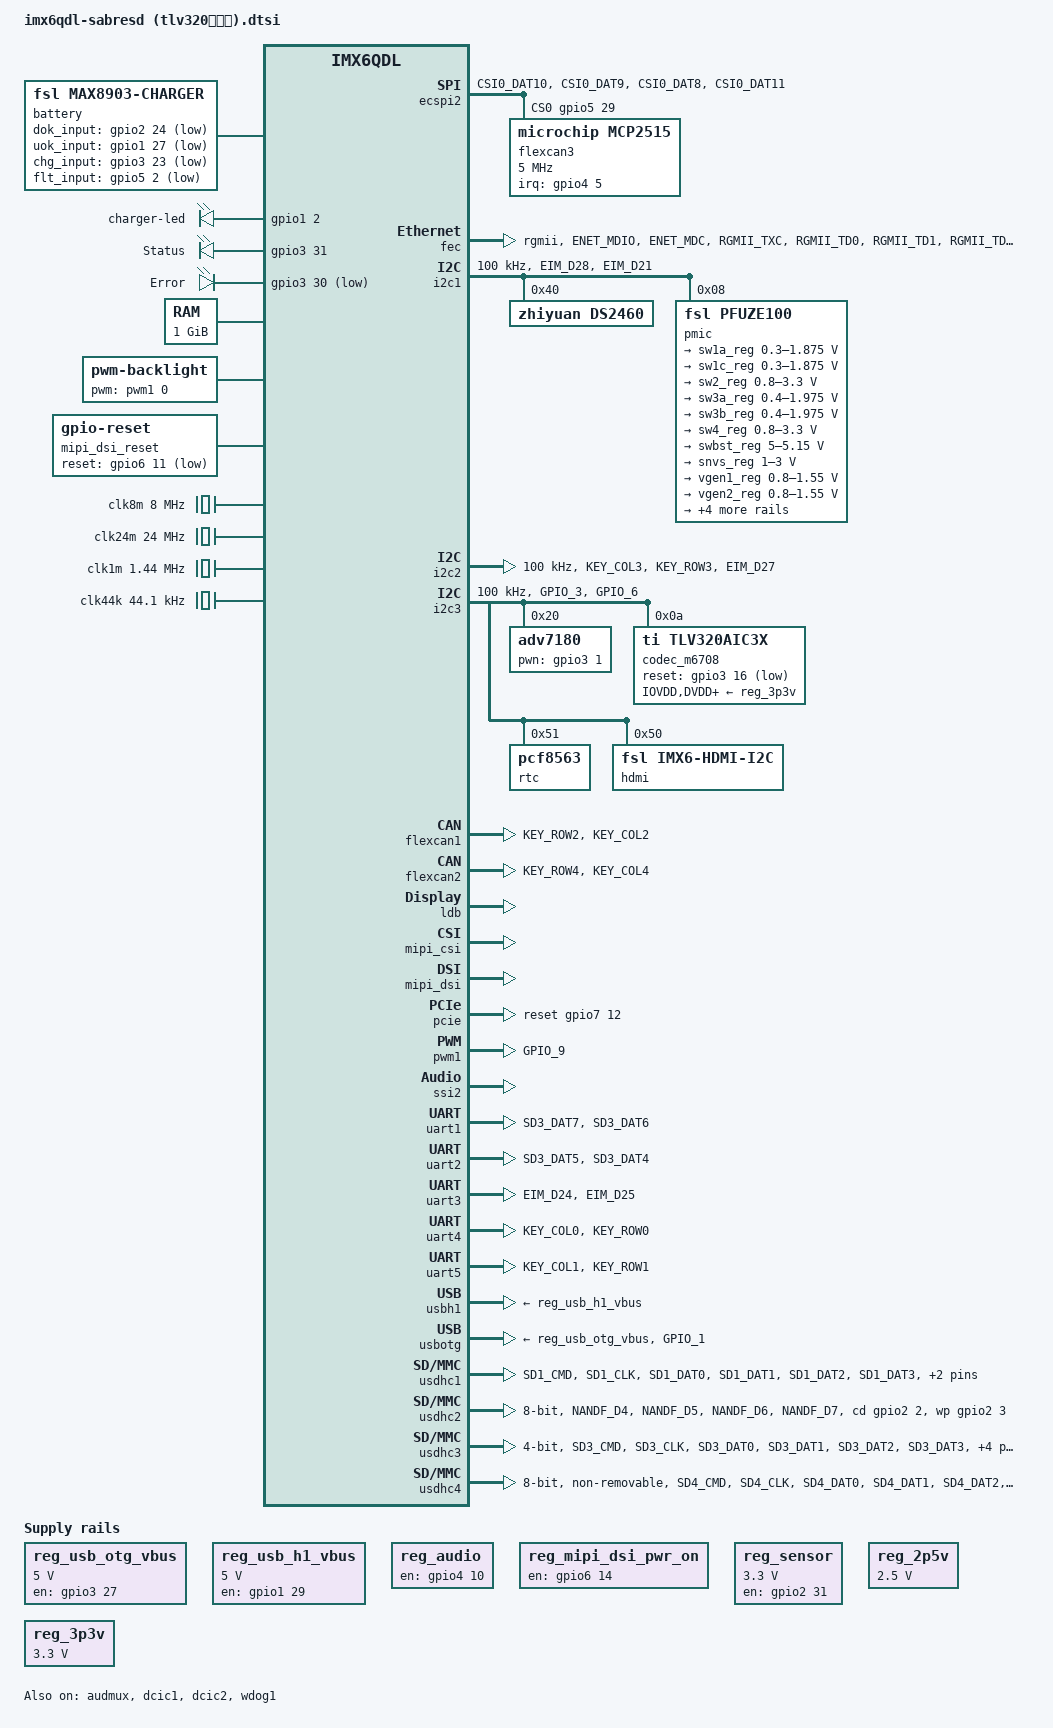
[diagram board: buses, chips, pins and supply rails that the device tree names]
/*
 * Copyright 2012 Freescale Semiconductor, Inc.
 * Copyright 2011 Linaro Ltd.
 *
 * The code contained herein is licensed under the GNU General Public
 * License. You may obtain a copy of the GNU General Public License
 * Version 2 or later at the following locations:
 *
 * http://www.opensource.org/licenses/gpl-license.html
 * http://www.gnu.org/copyleft/gpl.html
 */

#include <dt-bindings/input/input.h>

/ {
	aliases {
		mxcfb0 = &mxcfb1;
		mxcfb1 = &mxcfb2;
		mxcfb2 = &mxcfb3;
		mxcfb3 = &mxcfb4;
	};

	battery: max8903@0 {
		compatible = "fsl,max8903-charger";
		pinctrl-names = "default";
		dok_input = <&gpio2 24 1>;
		uok_input = <&gpio1 27 1>;
		chg_input = <&gpio3 23 1>;
		flt_input = <&gpio5 2 1>;
		fsl,dcm_always_high;
		fsl,dc_valid;
		fsl,usb_valid;
		status = "okay";
	};

	leds {
		compatible = "gpio-leds";

		charger-led {
			gpios = <&gpio1 2 0>;
			linux,default-trigger = "max8903-charger-charging";
			retain-state-suspended;
		};

		system-led {
			label = "Status";
			gpios = <&gpio3 31 0>;
			linux,default-trigger = "heartbeat";
		};

		error-led {
			label = "Error";
			gpios = <&gpio3 30 1>;
			linux,default-status = "default-on";
		};
	};

	memory {
		reg = <0x10000000 0x40000000>;
	};

	regulators {
		compatible = "simple-bus";
		#address-cells = <1>;
		#size-cells = <0>;

		reg_usb_otg_vbus: regulator@0 {
			compatible = "regulator-fixed";
			reg = <0>;
			regulator-name = "usb_otg_vbus";
			regulator-min-microvolt = <5000000>;
			regulator-max-microvolt = <5000000>;
			gpio = <&gpio3 27 0>;
			enable-active-high;
		};

		reg_usb_h1_vbus: regulator@1 {
			compatible = "regulator-fixed";
			reg = <1>;
			regulator-name = "usb_h1_vbus";
			regulator-min-microvolt = <5000000>;
			regulator-max-microvolt = <5000000>;
			gpio = <&gpio1 29 0>;
			enable-active-high;
		};

		reg_audio: regulator@2 {
			compatible = "regulator-fixed";
			reg = <2>;
			regulator-name = "wm8962-supply";
			gpio = <&gpio4 10 0>;
			enable-active-high;
		};

		reg_mipi_dsi_pwr_on: mipi_dsi_pwr_on {
			compatible = "regulator-fixed";
			regulator-name = "mipi_dsi_pwr_on";
			gpio = <&gpio6 14 0>;
			enable-active-high;
		};

		reg_sensor: regulator@3 {
			compatible = "regulator-fixed";
			reg = <3>;
			regulator-name = "sensor-supply";
			regulator-min-microvolt = <3300000>;
			regulator-max-microvolt = <3300000>;
			gpio = <&gpio2 31 0>;
			startup-delay-us = <500>;
			enable-active-high;
		};

		reg_2p5v: regulator@4 {
			  compatible = "regulator-fixed";
			  reg = <4>;
			  regulator-name = "2P5V";
			  regulator-min-microvolt = <2500000>;
			  regulator-max-microvolt = <2500000>;
			  regulator-always-on;
		};

		reg_3p3v: regulator@5 {
			  compatible = "regulator-fixed";
			  reg = <5>;
			  regulator-name = "3P3V";
			  regulator-min-microvolt = <3300000>;
			  regulator-max-microvolt = <3300000>;
			  regulator-always-on;
		};

	};

	sound {
		compatible = "fsl,imx-audio-tlv320aic3x";
		model = "tlv320aic3x-audio";
		cpu-dai = <&ssi2>;
		audio-codec = <&codec_m6708>;
		asrc-controller = <&asrc>;
		//pinctrl-names = "default";
		//pinctrl-0 = <&pinctrl_tlv>;
		audio-routing =
			"MICIN", "Mic Jack",
			"Mic Jack", "Mic Bias",
			"Headphone Jack", "HP_OUT",
			"Headphone Jack", "LHPOUT",
			"Headphone Jack", "RHPOUT",
			"Line In Jack",	"LINE1L",
			"Line In Jack",	"LINE1R";
			/*"Headphone Jack", "MONO_LOUT",
			"Headphone Jack", "MONO_ROUT", 
			"Headphone Jack", "HPLOUT", 
			"Headphone Jack", "HPROUT", 
			"Line In Jack", "LINE1L", 
			"Line In Jack", "LINE1R",
			"Ext Spk", "SPKOUTL", 
			"Ext Spk", "SPKOUTR", 
			"MICBIAS", "AMIC", 
			"IN3R", "MICBIAS", 
			"DMIC", "MICBIAS", 
			"DMICDAT", "DMIC", 
			"CPU-Playback", "ASRC-Playback", 
			"Playback", "CPU-Playback", 
			"ASRC-Capture", "CPU-Capture", 
			"CPU-Capture", "Capture";*/
		mux-int-port = <2>;
		mux-ext-port = <3>;
		//hp-det-gpios = <&gpio3 20 GPIO_ACTIVE_LOW>;
		//mic-det-gpios = <&gpio1 20 GPIO_ACTIVE_LOW>;
		status = "okay";
	};

	/*sound-hdmi {
		compatible = "fsl,imx6q-audio-hdmi",
			     "fsl,imx-audio-hdmi";
		model = "imx-audio-hdmi";
		hdmi-controller = <&hdmi_audio>;
	};*/

	mxcfb1: fb@0 {
		compatible = "fsl,mxc_sdc_fb";
		disp_dev = "ldb";
		interface_pix_fmt = "RGB24";
		mode_str ="1920x1080M@60";
		default_bpp = <16>;
		int_clk = <0>;
		late_init = <0>;
		status = "okay";
	};

	mxcfb2: fb@1 {
		compatible = "fsl,mxc_sdc_fb";
		disp_dev = "hdmi";
		interface_pix_fmt = "RGB24";
		mode_str ="1920x1080M@60";
		default_bpp = <24>;
		int_clk = <0>;
		late_init = <0>;
		status = "okay";
	};

	mxcfb3: fb@2 {
		compatible = "fsl,mxc_sdc_fb";
		disp_dev = "ldb";
		interface_pix_fmt = "RGB565";
		mode_str ="CLAA-WVGA";
		default_bpp = <16>;
		int_clk = <0>;
		late_init = <0>;
		status = "disabled";
	};

	mxcfb4: fb@3 {
		compatible = "fsl,mxc_sdc_fb";
		disp_dev = "ldb";
		interface_pix_fmt = "RGB666";
		default_bpp = <16>;
		int_clk = <0>;
		late_init = <0>;
		status = "disabled";
	};

	/*lcd@0 {
		compatible = "fsl,lcd";
		ipu_id = <0>;
		disp_id = <0>;
		default_ifmt = "RGB565";
		pinctrl-names = "default";
		pinctrl-0 = <&pinctrl_ipu1>;
		status = "disabled";
	};*/

	backlight {
		compatible = "pwm-backlight";
		pwms = <&pwm1 0 5000000>;
		brightness-levels = <0 4 8 16 32 64 128 255>;
		default-brightness-level = <7>;
		status = "okay";
	};

	/*
	buzzer {
		compatible = "pwm-beeper";
		pwms = <&pwm1 0 5000000 0>;
		status = "okay";
	};
	*/

	/*v4l2_cap_0 {
		compatible = "fsl,imx6q-v4l2-capture";
		ipu_id = <0>;
		csi_id = <0>;
		mclk_source = <0>;
		status = "okay";
	};

	v4l2_cap_1 {
		compatible = "fsl,imx6q-v4l2-capture";
		ipu_id = <0>;
		csi_id = <1>;
		mclk_source = <0>;
		status = "okay";
	};

	v4l2_out {
		compatible = "fsl,mxc_v4l2_output";
		status = "okay";
	};*/

	mipi_dsi_reset: mipi-dsi-reset {
		compatible = "gpio-reset";
		reset-gpios = <&gpio6 11 GPIO_ACTIVE_LOW>;
		reset-delay-us = <50>;
		#reset-cells = <0>;
	};
};

&audmux {
	pinctrl-names = "default";
	pinctrl-0 = <&pinctrl_audmux>;
	clocks = <&clk1m>,		
		<&clk44k>;
	clock-names =  "bclk","wclk";
	status = "okay";
};

&cpu0 {
	arm-supply = <&sw1a_reg>;
	soc-supply = <&sw1c_reg>;
};

&ecspi2 {
	fsl,spi-num-chipselects = <1>;
	cs-gpios = <&gpio5 29 0>;
	pinctrl-names = "default";
	pinctrl-0 = <&pinctrl_ecspi2>;
	interrupts = <0 32 IRQ_TYPE_EDGE_FALLING>;
	status = "okay";
	//dmas = <&sdma 43 1 0>,
	//       <&sdma 44 1 0>;
	//dma-names = "rx", "tx";
	flexcan3: can@0 {
		reg = <0>;      /* CS0 */
		compatible = "microchip,mcp2515";
		clocks = <&clk8m>;
		//interrupt-parent = <&gpio4>;
		//interrupts = <0 5 IRQ_TYPE_LEVEL_HIGH>;
		interrupts-extended = <&gpio4 5 4>;
		spi-max-frequency = <5000000>;
		status = "okay";
		//vdd-supply = <&reg_3p3v>;
		//xceiver-supply = <&reg_3p3v>;
	};
};
/{
	clocks {
       	/* Fixed crystal dedicated to mcp251x */
		clk8m: clk@1 {
			compatible = "fixed-clock";
			reg = <1>;
			#clock-cells = <0>;
			clock-frequency = <8000000>;
			clock-output-names = "clk8m";
		};
		clk24m: clk@2 {
			compatible = "fixed-clock";
			reg = <2>;
			#clock-cells = <0>;
			clock-frequency = <24000000>;
			clock-output-names = "clk24m";
		};
		clk1m: clk@3 {
			compatible = "fixed-clock";
			reg = <3>;
			#clock-cells = <0>;
			clock-frequency = <1440000>;
			clock-output-names = "clk1m";
		};
		clk44k: clk@4 {
			compatible = "fixed-clock";
			reg = <4>;
			#clock-cells = <0>;
			clock-frequency = <44100>;
			clock-output-names = "clk44k";
		};
		osc {
			compatible = "fsl,imx-osc", "fixed-clock", "mclk","bclk","wclk";
			status = "okay";
		};
	};
	soc{
		aips-bus@02000000 {
			clks: ccm@020c4000 {
				status = "okay";
			};
		};
	};
};
&fec {
	pinctrl-names = "default";
	pinctrl-0 = <&pinctrl_enet>;
	phy-mode = "rgmii";
	phy-reset-gpios = <&gpio1 25 0>;
	fsl,magic-packet;
	status = "okay";
};

&i2c1 {
	clock-frequency = <100000>;
	pinctrl-names = "default";
	pinctrl-0 = <&pinctrl_i2c1>;
	status = "okay";

	ds2460@40{
		compatible = "zhiyuan,ds2460";
		reg = <0x40>;
	};

	pmic: pfuze100@08 {
		compatible = "fsl,pfuze100";
		reg = <0x08>;

		regulators {
			sw1a_reg: sw1ab {
				regulator-min-microvolt = <300000>;
				regulator-max-microvolt = <1875000>;
				regulator-boot-on;
				regulator-always-on;
				regulator-ramp-delay = <6250>;
			};

			sw1c_reg: sw1c {
				regulator-min-microvolt = <300000>;
				regulator-max-microvolt = <1875000>;
				regulator-boot-on;
				regulator-always-on;
				regulator-ramp-delay = <6250>;
			};

			sw2_reg: sw2 {
				regulator-min-microvolt = <800000>;
				regulator-max-microvolt = <3300000>;
				regulator-boot-on;
				regulator-always-on;
			};

			sw3a_reg: sw3a {
				regulator-min-microvolt = <400000>;
				regulator-max-microvolt = <1975000>;
				regulator-boot-on;
				regulator-always-on;
			};

			sw3b_reg: sw3b {
				regulator-min-microvolt = <400000>;
				regulator-max-microvolt = <1975000>;
				regulator-boot-on;
				regulator-always-on;
			};

			sw4_reg: sw4 {
				regulator-min-microvolt = <800000>;
				regulator-max-microvolt = <3300000>;
			};

			swbst_reg: swbst {
				regulator-min-microvolt = <5000000>;
				regulator-max-microvolt = <5150000>;
			};

			snvs_reg: vsnvs {
				regulator-min-microvolt = <1000000>;
				regulator-max-microvolt = <3000000>;
				regulator-boot-on;
				regulator-always-on;
			};

			vref_reg: vrefddr {
				regulator-boot-on;
				regulator-always-on;
			};

			vgen1_reg: vgen1 {
				regulator-min-microvolt = <800000>;
				regulator-max-microvolt = <1550000>;
			};

			vgen2_reg: vgen2 {
				regulator-min-microvolt = <800000>;
				regulator-max-microvolt = <1550000>;
			};

			vgen3_reg: vgen3 {
				regulator-min-microvolt = <1800000>;
				regulator-max-microvolt = <3300000>;
			};

			vgen4_reg: vgen4 {
				regulator-min-microvolt = <1800000>;
				regulator-max-microvolt = <3300000>;
				regulator-always-on;
			};

			vgen5_reg: vgen5 {
				regulator-min-microvolt = <1800000>;
				regulator-max-microvolt = <3300000>;
				regulator-always-on;
			};

			vgen6_reg: vgen6 {
				regulator-min-microvolt = <1800000>;
				regulator-max-microvolt = <3300000>;
				regulator-always-on;
			};
		};
	};

};

&i2c2 {
	clock-frequency = <100000>;
	pinctrl-names = "default";
	pinctrl-0 = <&pinctrl_i2c2>;
	status = "okay";
};

&i2c3 {
	clock-frequency = <100000>;
	pinctrl-names = "default";
	pinctrl-0 = <&pinctrl_i2c3>;
	status = "okay";

	adv7180: adv7180@20 {
        compatible = "adv7180";
        reg = <0x20>;
        pinctrl-names = "default";
        pinctrl-0 = <&pinctrl_ipu1_2>;
        clocks = <&clks IMX6QDL_CLK_CKO>;
        clock-names = "csi_mclk";
        //DOVDD-supply = <&reg_3p3v>; /* 3.3v, enabled via 2.8 VGEN6 */
        //AVDD-supply = <&reg_3p3v>;  /* 1.8v */
        //DVDD-supply = <&reg_3p3v>;  /* 1.8v */
        //PVDD-supply = <&reg_3p3v>;  /* 1.8v */
        //pwn-gpios = <&max7310_b 2 0>;
        pwn-gpios = <&gpio3 1 0>;
        csi_id = <0>;
        mclk = <24000000>;
        mclk_source = <0>;
        cvbs = <1>;
	};

	codec_m6708: tlc320aic3x-codec@0a {
	   compatible = "ti,tlv320aic3x";
	   reg = <0x0a>;
	   clocks = <&clks IMX6QDL_CLK_CKO>;

	   //VDDA-supply = <&reg_2p5v>;
	   //VDDIO-supply = <&reg_3p3v>;
	   IOVDD-supply = <&reg_3p3v>;
	   DVDD-supply = <&reg_3p3v>;
	   AVDD-supply = <&reg_3p3v>;
	   DRVDD-supply = <&reg_3p3v>;
	   reset-gpios = <&gpio3 16 1>;
	   amic-mono;
	   gpio-cfg = < 
		0x0000 /* 0:Default */ 
		0x0000 /* 1:Default */ 
		0x0013 /* 2:FN_DMICCLK */ 
		0x0000 /* 3:Default */ 
		0x8014 /* 4:FN_DMICCDAT */ 
		0x0000 /* 5:Default */ 
		>;
	};

	rtc@51{
		compatible = "pcf8563";
		reg = <0x51>;
	};

	hdmi: edid@50 {
		compatible = "fsl,imx6-hdmi-i2c";
		reg = <0x50>;
	};

};

&iomuxc {
	pinctrl-names = "default";
	pinctrl-0 = <&pinctrl_hog>;

	imx6qdl-sabresd {
		pinctrl_hog: hoggrp {
			fsl,pins = <
				MX6QDL_PAD_NANDF_D0__GPIO2_IO00 0x80000000
				MX6QDL_PAD_NANDF_D1__GPIO2_IO01 0x80000000
				MX6QDL_PAD_NANDF_D2__GPIO2_IO02 0x80000000
				MX6QDL_PAD_NANDF_D3__GPIO2_IO03 0x80000000
				/* MX6QDL_PAD_GPIO_0__CCM_CLKO1    0x130b0 */
				MX6QDL_PAD_GPIO_0__CCM_CLKO1    0x130b0
				MX6QDL_PAD_NANDF_CLE__GPIO6_IO07 0x80000000
				MX6QDL_PAD_NANDF_ALE__GPIO6_IO08 0x80000000
				MX6QDL_PAD_ENET_TXD1__GPIO1_IO29 0x80000000
				MX6QDL_PAD_EIM_D22__GPIO3_IO22  0x80000000
				MX6QDL_PAD_ENET_CRS_DV__GPIO1_IO25 0x80000000
				MX6QDL_PAD_EIM_D26__GPIO3_IO26 0x80000000
				MX6QDL_PAD_EIM_CS1__GPIO2_IO24 0x80000000
				MX6QDL_PAD_ENET_RXD0__GPIO1_IO27 0x80000000
				MX6QDL_PAD_EIM_A25__GPIO5_IO02 0x80000000
				MX6QDL_PAD_EIM_D23__GPIO3_IO23 0x80000000
				MX6QDL_PAD_EIM_EB3__GPIO2_IO31 0x80000000
				/* MX6QDL_PAD_SD1_CMD__GPIO1_IO18 0x80000000 */
				//MX6QDL_PAD_EIM_D16__GPIO3_IO16 0x80000000
				MX6QDL_PAD_SD3_RST__GPIO7_IO08	0x80000000
				/* MX6QDL_PAD_GPIO_9__GPIO1_IO09 0x80000000 */
				MX6QDL_PAD_EIM_DA9__GPIO3_IO09 0x80000000
				/* MX6QDL_PAD_GPIO_1__WDOG2_B 0x80000000 */
				MX6QDL_PAD_NANDF_CS0__GPIO6_IO11 0x80000000
				MX6QDL_PAD_NANDF_CS1__GPIO6_IO14 0x80000000
				MX6QDL_PAD_EIM_D31__GPIO3_IO31 0x80000000
				MX6QDL_PAD_EIM_D30__GPIO3_IO30 0x80000000
				MX6QDL_PAD_EIM_D20__GPIO3_IO20 0x80000000
				/*MX6QDL_PAD_GPIO_0__GPIO1_IO00  0x80000000*/
				MX6QDL_PAD_EIM_D18__GPIO3_IO18	0x80000000
				MX6QDL_PAD_SD2_CLK__GPIO1_IO10	0x80000000
				MX6QDL_PAD_SD2_DAT2__GPIO1_IO13	0x80000000
				MX6QDL_PAD_SD2_CMD__GPIO1_IO11 0x80000000

				MX6QDL_PAD_EIM_A16__GPIO2_IO22 0x80000000
				MX6QDL_PAD_EIM_A17__GPIO2_IO21 0x80000000
				MX6QDL_PAD_EIM_A18__GPIO2_IO20 0x80000000
				MX6QDL_PAD_EIM_A19__GPIO2_IO19 0x80000000
				MX6QDL_PAD_EIM_A20__GPIO2_IO18 0x80000000
				MX6QDL_PAD_EIM_A21__GPIO2_IO17 0x80000000
				MX6QDL_PAD_EIM_A22__GPIO2_IO16 0x80000000
				MX6QDL_PAD_EIM_A23__GPIO6_IO06 0x80000000
				MX6QDL_PAD_EIM_A24__GPIO5_IO04 0x80000000
				MX6QDL_PAD_GPIO_5__GPIO1_IO05  0x80000000
				MX6QDL_PAD_NANDF_CS2__GPIO6_IO15  0x80000000
				MX6QDL_PAD_GPIO_19__GPIO4_IO05  0x80000000
				//MX6QDL_PAD_CSI0_MCLK__GPIO5_IO19 0x80000000
				//MX6QDL_PAD_EIM_D27__GPIO3_IO27  0x80000000

			>;
		};

		pinctrl_audmux: audmuxgrp {
			fsl,pins = <
				
				MX6QDL_PAD_CSI0_DAT7__AUD3_RXD		0x130b0
				MX6QDL_PAD_CSI0_DAT4__AUD3_TXC		0x130b0
				MX6QDL_PAD_CSI0_DAT5__AUD3_TXD		0x110b0
				MX6QDL_PAD_CSI0_DAT6__AUD3_TXFS		0x130b0
			>;
		};
		/*pinctrl_tlv: tlvgrp {
			fsl,pins = <
				MX6QDL_PAD_CSI0_MCLK__CCM_CLKO1		0x130b0
			>;
		};*/


		pinctrl_ecspi1: ecspi1grp {
			fsl,pins = <
			>;
		};

		pinctrl_ecspi2: ecspi2grp {
			fsl,pins = <
				MX6QDL_PAD_CSI0_DAT10__ECSPI2_MISO	0x100b1
				MX6QDL_PAD_CSI0_DAT9__ECSPI2_MOSI	0x100b1
				MX6QDL_PAD_CSI0_DAT8__ECSPI2_SCLK	0x100b1
				MX6QDL_PAD_CSI0_DAT11__GPIO5_IO29       0x80000000
			>;
		};

		pinctrl_enet: enetgrp {
			fsl,pins = <
				MX6QDL_PAD_ENET_MDIO__ENET_MDIO		0x1b0b0
				MX6QDL_PAD_ENET_MDC__ENET_MDC		0x1b0b0
				MX6QDL_PAD_RGMII_TXC__RGMII_TXC		0x1b0b0
				MX6QDL_PAD_RGMII_TD0__RGMII_TD0		0x1b0b0
				MX6QDL_PAD_RGMII_TD1__RGMII_TD1		0x1b0b0
				MX6QDL_PAD_RGMII_TD2__RGMII_TD2		0x1b0b0
				MX6QDL_PAD_RGMII_TD3__RGMII_TD3		0x1b0b0
				MX6QDL_PAD_RGMII_TX_CTL__RGMII_TX_CTL	0x1b0b0
				MX6QDL_PAD_ENET_REF_CLK__ENET_TX_CLK	0x1b0b0
				MX6QDL_PAD_RGMII_RXC__RGMII_RXC		0x1b0b0
				MX6QDL_PAD_RGMII_RD0__RGMII_RD0		0x1b0b0
				MX6QDL_PAD_RGMII_RD1__RGMII_RD1		0x1b0b0
				MX6QDL_PAD_RGMII_RD2__RGMII_RD2		0x1b0b0
				MX6QDL_PAD_RGMII_RD3__RGMII_RD3		0x1b0b0
				MX6QDL_PAD_RGMII_RX_CTL__RGMII_RX_CTL	0x1b0b0
				MX6QDL_PAD_GPIO_16__ENET_REF_CLK	0x4001b0a8
			>;
		};

		pinctrl_enet_irq: enetirqgrp {
			fsl,pins = <
				MX6QDL_PAD_GPIO_6__ENET_IRQ		0x000b1
			>;
		};

		pinctrl_flexcan1: flexcan1grp {
			fsl,pins = <
				MX6QDL_PAD_KEY_ROW2__FLEXCAN1_RX        0x80000000
				MX6QDL_PAD_KEY_COL2__FLEXCAN1_TX        0x80000000
			>;
		};

		pinctrl_flexcan2: flexcan2grp {
			fsl,pins = <
				MX6QDL_PAD_KEY_ROW4__FLEXCAN2_RX        0x80000000
				MX6QDL_PAD_KEY_COL4__FLEXCAN2_TX        0x80000000
			>;
		};

		pinctrl_hdmi_cec: hdmicecgrp {
			fsl,pins = <
				MX6QDL_PAD_KEY_ROW2__HDMI_TX_CEC_LINE 0x1f8b0
			>;
		};

		pinctrl_hdmi_hdcp: hdmihdcpgrp {
			fsl,pins = <
				MX6QDL_PAD_KEY_COL3__HDMI_TX_DDC_SCL 0x4001b8b1
				MX6QDL_PAD_KEY_ROW3__HDMI_TX_DDC_SDA 0x4001b8b1
			>;
		};

		pinctrl_i2c1: i2c1grp {
			fsl,pins = <
				//MX6QDL_PAD_CSI0_DAT8__I2C1_SDA		0x4001b8b1
				//MX6QDL_PAD_CSI0_DAT9__I2C1_SCL		0x4001b8b1
				MX6QDL_PAD_EIM_D28__I2C1_SDA	0x4001b8b1
				MX6QDL_PAD_EIM_D21__I2C1_SCL	0x4001b8b1
			>;
		};

		pinctrl_i2c2: i2c2grp {
			fsl,pins = <
				MX6QDL_PAD_KEY_COL3__I2C2_SCL		0x4001b8b1
				MX6QDL_PAD_KEY_ROW3__I2C2_SDA		0x4001b8b1
				MX6QDL_PAD_EIM_D27__GPIO3_IO27		0x80000000
			 >;
		};

		pinctrl_i2c3: i2c3grp {
			fsl,pins = <
				MX6QDL_PAD_GPIO_3__I2C3_SCL		0x4001b8b1
				MX6QDL_PAD_GPIO_6__I2C3_SDA		0x4001b8b1
			>;
		};

		pinctrl_ipu1: ipu1grp {
			fsl,pins = <
				MX6QDL_PAD_DI0_DISP_CLK__IPU1_DI0_DISP_CLK 0x10
				MX6QDL_PAD_DI0_PIN15__IPU1_DI0_PIN15       0x10
				MX6QDL_PAD_DI0_PIN2__IPU1_DI0_PIN02        0x10
				MX6QDL_PAD_DI0_PIN3__IPU1_DI0_PIN03        0x10
				MX6QDL_PAD_DI0_PIN4__IPU1_DI0_PIN04        0x80000000
				MX6QDL_PAD_DISP0_DAT0__IPU1_DISP0_DATA00   0x10
				MX6QDL_PAD_DISP0_DAT1__IPU1_DISP0_DATA01   0x10
				MX6QDL_PAD_DISP0_DAT2__IPU1_DISP0_DATA02   0x10
				MX6QDL_PAD_DISP0_DAT3__IPU1_DISP0_DATA03   0x10
				MX6QDL_PAD_DISP0_DAT4__IPU1_DISP0_DATA04   0x10
				MX6QDL_PAD_DISP0_DAT5__IPU1_DISP0_DATA05   0x10
				MX6QDL_PAD_DISP0_DAT6__IPU1_DISP0_DATA06   0x10
				MX6QDL_PAD_DISP0_DAT7__IPU1_DISP0_DATA07   0x10
				MX6QDL_PAD_DISP0_DAT8__IPU1_DISP0_DATA08   0x10
				MX6QDL_PAD_DISP0_DAT9__IPU1_DISP0_DATA09   0x10
				MX6QDL_PAD_DISP0_DAT10__IPU1_DISP0_DATA10  0x10
				MX6QDL_PAD_DISP0_DAT11__IPU1_DISP0_DATA11  0x10
				MX6QDL_PAD_DISP0_DAT12__IPU1_DISP0_DATA12  0x10
				MX6QDL_PAD_DISP0_DAT13__IPU1_DISP0_DATA13  0x10
				MX6QDL_PAD_DISP0_DAT14__IPU1_DISP0_DATA14  0x10
				MX6QDL_PAD_DISP0_DAT15__IPU1_DISP0_DATA15  0x10
				MX6QDL_PAD_DISP0_DAT16__IPU1_DISP0_DATA16  0x10
				MX6QDL_PAD_DISP0_DAT17__IPU1_DISP0_DATA17  0x10
				MX6QDL_PAD_DISP0_DAT18__IPU1_DISP0_DATA18  0x10
				MX6QDL_PAD_DISP0_DAT19__IPU1_DISP0_DATA19  0x10
				MX6QDL_PAD_DISP0_DAT20__IPU1_DISP0_DATA20  0x10
				MX6QDL_PAD_DISP0_DAT21__IPU1_DISP0_DATA21  0x10
				MX6QDL_PAD_DISP0_DAT22__IPU1_DISP0_DATA22  0x10
				MX6QDL_PAD_DISP0_DAT23__IPU1_DISP0_DATA23  0x10
			>;
		};

		pinctrl_ipu1_2: ipu1grp-2 { /* parallel camera */
			fsl,pins = <
				MX6QDL_PAD_CSI0_DAT12__IPU1_CSI0_DATA12    0x80000000
				MX6QDL_PAD_CSI0_DAT13__IPU1_CSI0_DATA13    0x80000000
				MX6QDL_PAD_CSI0_DAT14__IPU1_CSI0_DATA14    0x80000000
				MX6QDL_PAD_CSI0_DAT15__IPU1_CSI0_DATA15    0x80000000
				MX6QDL_PAD_CSI0_DAT16__IPU1_CSI0_DATA16    0x80000000
				MX6QDL_PAD_CSI0_DAT17__IPU1_CSI0_DATA17    0x80000000
				MX6QDL_PAD_CSI0_DAT18__IPU1_CSI0_DATA18    0x80000000
				MX6QDL_PAD_CSI0_DAT19__IPU1_CSI0_DATA19    0x80000000
				MX6QDL_PAD_CSI0_DATA_EN__IPU1_CSI0_DATA_EN 0x80000000
				MX6QDL_PAD_CSI0_PIXCLK__IPU1_CSI0_PIXCLK   0x80000000
				//MX6QDL_PAD_GPIO_0__CCM_CLKO1			0x80000000
				//MX6QDL_PAD_CSI0_MCLK__IPU1_CSI0_HSYNC      0x80000000
				MX6QDL_PAD_CSI0_VSYNC__IPU1_CSI0_VSYNC     0x80000000
			>;
		};

		pinctrl_pwm1: pwm1grp {
			fsl,pins = <
				MX6QDL_PAD_GPIO_9__PWM1_OUT		0x1b0b1
			>;
		};

		pinctrl_uart1: uart1grp {
			fsl,pins = <
				MX6QDL_PAD_SD3_DAT7__UART1_TX_DATA	0x1b0b1
				MX6QDL_PAD_SD3_DAT6__UART1_RX_DATA	0x1b0b1
			>;
		};

		pinctrl_uart2: uart2grp {
			fsl,pins = <
				MX6QDL_PAD_SD3_DAT5__UART2_TX_DATA	0x1b0b1
				MX6QDL_PAD_SD3_DAT4__UART2_RX_DATA	0x1b0b1
			>;
		};

		pinctrl_uart3: uart3grp {
			fsl,pins = <
				MX6QDL_PAD_EIM_D24__UART3_TX_DATA	0x1b0b1
				MX6QDL_PAD_EIM_D25__UART3_RX_DATA	0x1b0b1
			>;
		};

		pinctrl_uart4: uart4grp {
			fsl,pins = <
				MX6QDL_PAD_KEY_COL0__UART4_TX_DATA	0x1b0b1
				MX6QDL_PAD_KEY_ROW0__UART4_RX_DATA	0x1b0b1
			>;
		};

		pinctrl_uart5_1: uart5grp-1 {
			fsl,pins = <
				MX6QDL_PAD_KEY_COL1__UART5_TX_DATA	0x1b0b1
				MX6QDL_PAD_KEY_ROW1__UART5_RX_DATA	0x1b0b1
			>;
		};

		pinctrl_uart5dte_1: uart5dtegrp-1 {
			fsl,pins = <
				MX6QDL_PAD_KEY_ROW1__UART5_TX_DATA	0x1b0b1
				MX6QDL_PAD_KEY_COL1__UART5_RX_DATA	0x1b0b1
				MX6QDL_PAD_KEY_ROW4__UART5_RTS_B	0x1b0b1
				MX6QDL_PAD_KEY_COL4__UART5_CTS_B	0x1b0b1
			>;
		};

		pinctrl_usbotg: usbotggrp {
			fsl,pins = <
				/*MX6QDL_PAD_ENET_RX_ER__USB_OTG_ID	0x17059*/
				MX6QDL_PAD_GPIO_1__USB_OTG_ID 		0x17059
			>;
		};

		pinctrl_usdhc1: usdhc1grp {
			fsl,pins = <
				MX6QDL_PAD_SD1_CMD__SD1_CMD     	0x17059
				MX6QDL_PAD_SD1_CLK__SD1_CLK     	0x10059
				MX6QDL_PAD_SD1_DAT0__SD1_DATA0      0x17059
				MX6QDL_PAD_SD1_DAT1__SD1_DATA1      0x17059
				MX6QDL_PAD_SD1_DAT2__SD1_DATA2      0x17059
				MX6QDL_PAD_SD1_DAT3__SD1_DATA3      0x17059
				MX6QDL_PAD_SD2_DAT1__GPIO1_IO14		0x80000000
				MX6QDL_PAD_SD2_DAT3__GPIO1_IO12		0x80000000
			>;
		};

		pinctrl_usdhc2: usdhc2grp {
			fsl,pins = <
				/* MX6QDL_PAD_SD2_CMD__SD2_CMD		0x17059 */
				/* MX6QDL_PAD_SD2_CLK__SD2_CLK		0x10059 */
				/* MX6QDL_PAD_SD2_DAT0__SD2_DATA0		0x17059 */
				/* MX6QDL_PAD_SD2_DAT1__SD2_DATA1		0x17059 */
				/* MX6QDL_PAD_SD2_DAT2__SD2_DATA2		0x17059 */
				/* MX6QDL_PAD_SD2_DAT3__SD2_DATA3		0x17059 */
				MX6QDL_PAD_NANDF_D4__SD2_DATA4		0x17059
				MX6QDL_PAD_NANDF_D5__SD2_DATA5		0x17059
				MX6QDL_PAD_NANDF_D6__SD2_DATA6		0x17059
				MX6QDL_PAD_NANDF_D7__SD2_DATA7		0x17059
			>;
		};

		pinctrl_usdhc3: usdhc3grp {
			fsl,pins = <
				MX6QDL_PAD_SD3_CMD__SD3_CMD		0x17059
				MX6QDL_PAD_SD3_CLK__SD3_CLK		0x10059
				MX6QDL_PAD_SD3_DAT0__SD3_DATA0		0x17059
				MX6QDL_PAD_SD3_DAT1__SD3_DATA1		0x17059
				MX6QDL_PAD_SD3_DAT2__SD3_DATA2		0x17059
				MX6QDL_PAD_SD3_DAT3__SD3_DATA3		0x17059
				MX6QDL_PAD_GPIO_17__GPIO7_IO12		0x80000000
				MX6QDL_PAD_GPIO_18__GPIO7_IO13		0x80000000
			>;
		};

		pinctrl_usdhc4: usdhc4grp {
			fsl,pins = <
				MX6QDL_PAD_SD4_CMD__SD4_CMD		0x17059
				MX6QDL_PAD_SD4_CLK__SD4_CLK		0x10059
				MX6QDL_PAD_SD4_DAT0__SD4_DATA0		0x17059
				MX6QDL_PAD_SD4_DAT1__SD4_DATA1		0x17059
				MX6QDL_PAD_SD4_DAT2__SD4_DATA2		0x17059
				MX6QDL_PAD_SD4_DAT3__SD4_DATA3		0x17059
				MX6QDL_PAD_SD4_DAT4__SD4_DATA4		0x17059
				MX6QDL_PAD_SD4_DAT5__SD4_DATA5		0x17059
				MX6QDL_PAD_SD4_DAT6__SD4_DATA6		0x17059
				MX6QDL_PAD_SD4_DAT7__SD4_DATA7		0x17059
			>;
		};

	};
};

&dcic1 {
	dcic_id = <0>;
	dcic_mux = "dcic-hdmi";
	status = "okay";
};

&dcic2 {
	dcic_id = <1>;
	dcic_mux = "dcic-lvds1";
	status = "okay";
};

&gpc {
	/* use ldo-bypass, u-boot will check it and configure */
	fsl,ldo-bypass = <1>;
	fsl,wdog-reset = <1>;
};

&flexcan1 {
	pinctrl-names = "default";
	pinctrl-0 = <&pinctrl_flexcan1>;
	status = "okay";
};

&flexcan2 {
	pinctrl-names = "default";
	pinctrl-0 = <&pinctrl_flexcan2>;
	status = "okay";
};
/*
&hdmi_audio {
	status = "okay";
};

&hdmi_cec {
	pinctrl-names = "default";
	pinctrl-0 = <&pinctrl_hdmi_cec>;
	status = "okay";
};

&hdmi_core {
	ipu_id = <0>;
	disp_id = <1>;
	status = "okay";
};

&hdmi_video {
	fsl,phy_reg_vlev = <0x0294>;
	fsl,phy_reg_cksymtx = <0x800d>;
	status = "okay";
};
*/
&ldb {
	status = "okay";
	split-mode = <2>;
	lvds-channel@0 {
		fsl,data-mapping = "spwg";
		fsl,data-width = <24>;
		primary;
		status = "okay";

		display-timings {
			native-mode = <&timing0>;
			timing0: hsd100pxn1 {
				clock-frequency = <144000000>;
				hactive = <1920>;
				vactive = <1080>;
				hback-porch = <148>;
				hfront-porch = <88>;
				vback-porch = <15>;
				vfront-porch = <2>;
				hsync-len = <44>;
				vsync-len = <5>;
			};
		};
	};

	lvds-channel@1 {
		fsl,data-mapping = "spwg";
		fsl,data-width = <24>;
		//primary;
		status = "okay";

		display-timings {
			native-mode = <&timing1>;
			timing1: hsd100pxn1 {
				clock-frequency = <144000000>;
				hactive = <1920>;
				vactive = <1080>;
				hback-porch = <148>;
				hfront-porch = <88>;
				vback-porch = <15>;
				vfront-porch = <2>;
				hsync-len = <44>;
				vsync-len = <5>;
			};
		};
	};
};
&mipi_csi {
	status = "okay";
	ipu_id = <0>;
	csi_id = <1>;
	v_channel = <0>;
	lanes = <2>;
};

&mipi_dsi {
	dev_id = <0>;
	disp_id = <1>;
	lcd_panel = "TRULY-WVGA";
	disp-power-on-supply = <&reg_mipi_dsi_pwr_on>;
	resets = <&mipi_dsi_reset>;
	status = "okay";
};

&pcie {
	power-on-gpio = <&gpio3 19 0>;
	reset-gpio = <&gpio7 12 0>;
	status = "okay";
};

&pwm1 {
	pinctrl-names = "default";
	pinctrl-0 = <&pinctrl_pwm1>;
	status = "okay";
};

&ssi2 {
	//pinctrl-names = "default";
	//pinctrl-0 = <&pinctrl_audmux>;
	clocks = <&clks IMX6QDL_CLK_CKO>,
		<&clks IMX6QDL_CLK_SSI2_PRED>,		
		<&clks IMX6QDL_CLK_SSI2_PODF>;
	clock-names = "mclk", "bclk","wclk";
	fsl,mode = "i2s-slave";
	status = "okay";
};

&uart1 {
	pinctrl-names = "default";
	pinctrl-0 = <&pinctrl_uart1>;
	status = "okay";
};

&uart2 {
	pinctrl-names = "default";
	pinctrl-0 = <&pinctrl_uart2>;
	status = "okay";
};

&uart3 {
	pinctrl-names = "default";
	pinctrl-0 = <&pinctrl_uart3>;
	status = "okay";
};

&uart4 {
	pinctrl-names = "default";
	pinctrl-0 = <&pinctrl_uart4>;
	status = "okay";
};

&uart5 {
	pinctrl-names = "default";
	pinctrl-0 = <&pinctrl_uart5_1>;
	status = "okay";
};

&usbh1 {
	vbus-supply = <&reg_usb_h1_vbus>;
	status = "okay";
};

&usbotg {
	vbus-supply = <&reg_usb_otg_vbus>;
	pinctrl-names = "default";
	pinctrl-0 = <&pinctrl_usbotg>;
	disable-over-current;
	status = "okay";
};

&usdhc1 {
	pinctrl-names = "default";
	pinctrl-0 = <&pinctrl_usdhc1>;
	//bus-width = <8>;
	//cd-gpios = <&gpio2 2 0>;
	//wp-gpios = <&gpio2 3 0>;
	no-1-8-v;
	keep-power-in-suspend;
	enable-sdio-wakeup;
	wifi-host;
	status = "okay";
};

&usdhc2 {
	pinctrl-names = "default";
	pinctrl-0 = <&pinctrl_usdhc2>;
	bus-width = <8>;
	cd-gpios = <&gpio2 2 0>;
	wp-gpios = <&gpio2 3 0>;
	no-1-8-v;
	keep-power-in-suspend;
	enable-sdio-wakeup;
	status = "okay";
};

&usdhc3 {
	pinctrl-names = "default";
	pinctrl-0 = <&pinctrl_usdhc3>;
	bus-width = <4>;
	cd-gpios = <&gpio7 12 0>;
	wp-gpios = <&gpio7 13 0>;
	no-1-8-v;
	keep-power-in-suspend;
	enable-sdio-wakeup;
	status = "okay";
};

&usdhc4 {
	pinctrl-names = "default";
	pinctrl-0 = <&pinctrl_usdhc4>;
	bus-width = <8>;
	non-removable;
	no-1-8-v;
	keep-power-in-suspend;
	status = "okay";
};

&wdog1 {
	status = "okay";
};

&wdog2 {
	status = "disabled";
};
